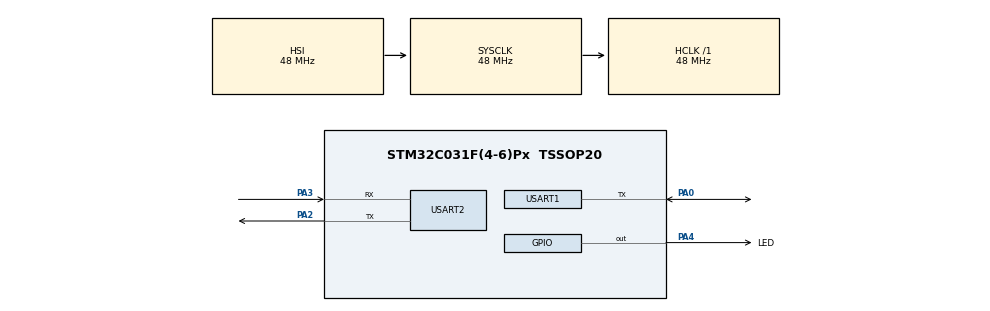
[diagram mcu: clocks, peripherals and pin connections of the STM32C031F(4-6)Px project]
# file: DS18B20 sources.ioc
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Dma.Request0=USART2_RX
Dma.Request1=USART2_TX
Dma.USART2_RX.0.Direction=DMA_PERIPH_TO_MEMORY
Dma.USART2_RX.0.EventEnable=DISABLE
Dma.USART2_RX.0.Instance=DMA1_Channel1
Dma.USART2_RX.0.MemDataAlignment=DMA_MDATAALIGN_BYTE
Dma.USART2_RX.0.MemInc=DMA_MINC_ENABLE
Dma.USART2_RX.0.Mode=DMA_NORMAL
Dma.USART2_RX.0.PeriphDataAlignment=DMA_PDATAALIGN_BYTE
Dma.USART2_RX.0.PeriphInc=DMA_PINC_DISABLE
Dma.USART2_RX.0.Polarity=HAL_DMAMUX_REQ_GEN_RISING
Dma.USART2_RX.0.Priority=DMA_PRIORITY_LOW
Dma.USART2_RX.0.RequestNumber=1
Dma.USART2_RX.0.SignalID=NONE
Dma.USART2_RX.0.SyncEnable=DISABLE
Dma.USART2_RX.0.SyncPolarity=HAL_DMAMUX_SYNC_NO_EVENT
Dma.USART2_RX.0.SyncRequestNumber=1
Dma.USART2_RX.0.SyncSignalID=NONE
Dma.USART2_TX.1.Direction=DMA_MEMORY_TO_PERIPH
Dma.USART2_TX.1.EventEnable=DISABLE
Dma.USART2_TX.1.Instance=DMA1_Channel2
Dma.USART2_TX.1.MemDataAlignment=DMA_MDATAALIGN_BYTE
Dma.USART2_TX.1.MemInc=DMA_MINC_ENABLE
Dma.USART2_TX.1.Mode=DMA_NORMAL
Dma.USART2_TX.1.PeriphDataAlignment=DMA_PDATAALIGN_BYTE
Dma.USART2_TX.1.PeriphInc=DMA_PINC_DISABLE
Dma.USART2_TX.1.Polarity=HAL_DMAMUX_REQ_GEN_RISING
Dma.USART2_TX.1.Priority=DMA_PRIORITY_LOW
Dma.USART2_TX.1.RequestNumber=1
Dma.USART2_TX.1.SignalID=NONE
Dma.USART2_TX.1.SyncEnable=DISABLE
Dma.USART2_TX.1.SyncPolarity=HAL_DMAMUX_SYNC_NO_EVENT
Dma.USART2_TX.1.SyncRequestNumber=1
Dma.USART2_TX.1.SyncSignalID=NONE
Mcu.Family=STM32C0
Mcu.Name=STM32C031F(4-6)Px
Mcu.Package=TSSOP20
NVIC.DMA1_Channel1_IRQn=true\:0\:0\:false\:false\:true\:false\:true\:true
NVIC.DMA1_Channel2_3_IRQn=true\:0\:0\:false\:false\:true\:false\:true\:true
NVIC.USART2_IRQn=true\:0\:0\:false\:false\:true\:true\:true\:true
PA0.Mode=Half_duplex(single_wire_mode)
PA0.Signal=USART1_TX
PA13.Mode=Serial_Wire
PA13.Signal=DEBUG_SWDIO
PA14-BOOT0.Mode=Serial_Wire
PA14-BOOT0.Signal=DEBUG_SWCLK
PA2.Mode=Asynchronous
PA2.Signal=USART2_TX
PA3.Mode=Asynchronous
PA3.Signal=USART2_RX
PA4.GPIO_Label=LED
PA4.Signal=GPIO_Output
ProjectManager.HeapSize=0x200
ProjectManager.StackSize=0x400
ProjectManager.TargetToolchain=Makefile
RCC.ADCFreq_Value=48000000
RCC.AHBFreq_Value=48000000
RCC.CortexFreq_Value=48000000
RCC.EXTERNAL_CLOCK_VALUE=12288000
RCC.HCLKFreq_Value=48000000
RCC.HSE_VALUE=8000000
RCC.HSISYSCLKDivider=RCC_HSI_DIV1
RCC.HSI_VALUE=48000000
RCC.LSE_VALUE=32768
RCC.SYSCLKFreq_VALUE=48000000
USART1.VirtualMode-Half_duplex(single_wire_mode)=VM_ASYNC
USART2.VirtualMode-Asynchronous=VM_ASYNC
board=custom

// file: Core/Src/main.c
/* USER CODE BEGIN Header */
/**
  ******************************************************************************
  * @file           : main.c
  * @brief          : Main program body
  ******************************************************************************
  * @attention
  *
  * Copyright (c) 2024 STMicroelectronics.
  * All rights reserved.
  *
  * This software is licensed under terms that can be found in the LICENSE file
  * in the root directory of this software component.
  * If no LICENSE file comes with this software, it is provided AS-IS.
  *
  ******************************************************************************
  */
/* USER CODE END Header */
#include "main.h"

/* USER CODE BEGIN Includes */
#include "ds18b20.h"
/* USER CODE END Includes */

/* USER CODE BEGIN PTD */
float DS18_GET();
void DS18_INIT();
/* USER CODE END PTD */

UART_HandleTypeDef huart1;
UART_HandleTypeDef huart2;
DMA_HandleTypeDef hdma_usart2_rx;
DMA_HandleTypeDef hdma_usart2_tx;

/* USER CODE BEGIN PV */
DS18B20 temperatureSensor;

float temp;
/* USER CODE END PV */

void SystemClock_Config(void);
static void MX_GPIO_Init(void);
static void MX_DMA_Init(void);
static void MX_USART1_UART_Init(void);
static void MX_USART2_UART_Init(void);

/* USER CODE BEGIN 0 */
uint8_t rx_buff[10];
/* USER CODE END 0 */

int main(void)
{

  /* MCU Configuration--------------------------------------------------------*/

  /* Reset of all peripherals, Initializes the Flash interface and the Systick. */
  HAL_Init();

  /* Configure the system clock */
  SystemClock_Config();

  /* Initialize all configured peripherals */
  MX_GPIO_Init();
  MX_DMA_Init();
  MX_USART1_UART_Init();
  MX_USART2_UART_Init();
  /* USER CODE BEGIN 2 */
  HAL_UART_Receive_DMA(&huart2, rx_buff, 10);
  HAL_GPIO_WritePin(LED_GPIO_Port, LED_Pin, GPIO_PIN_SET);
  DS18_INIT();
  /* USER CODE END 2 */

  /* Infinite loop */
  /* USER CODE BEGIN WHILE */
  while (1)
  {
	temp = DS18_GET();
	HAL_Delay(100);
    /* USER CODE END WHILE */

  }
}

void SystemClock_Config(void)
{
  RCC_OscInitTypeDef RCC_OscInitStruct = {0};
  RCC_ClkInitTypeDef RCC_ClkInitStruct = {0};

  /** Initializes the RCC Oscillators according to the specified parameters
  * in the RCC_OscInitTypeDef structure.
  */
  RCC_OscInitStruct.OscillatorType = RCC_OSCILLATORTYPE_HSI;
  RCC_OscInitStruct.HSIState = RCC_HSI_ON;
  RCC_OscInitStruct.HSIDiv = RCC_HSI_DIV1;
  RCC_OscInitStruct.HSICalibrationValue = RCC_HSICALIBRATION_DEFAULT;
  if (HAL_RCC_OscConfig(&RCC_OscInitStruct) != HAL_OK)
  {
    Error_Handler();
  }

  /** Initializes the CPU, AHB and APB buses clocks
  */
  RCC_ClkInitStruct.ClockType = RCC_CLOCKTYPE_HCLK|RCC_CLOCKTYPE_SYSCLK
                              |RCC_CLOCKTYPE_PCLK1;
  RCC_ClkInitStruct.SYSCLKSource = RCC_SYSCLKSOURCE_HSI;
  RCC_ClkInitStruct.SYSCLKDivider = RCC_SYSCLK_DIV1;
  RCC_ClkInitStruct.AHBCLKDivider = RCC_HCLK_DIV1;
  RCC_ClkInitStruct.APB1CLKDivider = RCC_APB1_DIV1;

  if (HAL_RCC_ClockConfig(&RCC_ClkInitStruct, FLASH_LATENCY_1) != HAL_OK)
  {
    Error_Handler();
  }
}

static void MX_USART1_UART_Init(void)
{

  huart1.Instance = USART1;
  huart1.Init.BaudRate = 115200;
  huart1.Init.WordLength = UART_WORDLENGTH_8B;
  huart1.Init.StopBits = UART_STOPBITS_1;
  huart1.Init.Parity = UART_PARITY_NONE;
  huart1.Init.Mode = UART_MODE_TX_RX;
  huart1.Init.HwFlowCtl = UART_HWCONTROL_NONE;
  huart1.Init.OverSampling = UART_OVERSAMPLING_16;
  huart1.Init.OneBitSampling = UART_ONE_BIT_SAMPLE_DISABLE;
  huart1.Init.ClockPrescaler = UART_PRESCALER_DIV1;
  huart1.AdvancedInit.AdvFeatureInit = UART_ADVFEATURE_NO_INIT;
  if (HAL_HalfDuplex_Init(&huart1) != HAL_OK)
  {
    Error_Handler();
  }
  if (HAL_UARTEx_SetTxFifoThreshold(&huart1, UART_TXFIFO_THRESHOLD_1_8) != HAL_OK)
  {
    Error_Handler();
  }
  if (HAL_UARTEx_SetRxFifoThreshold(&huart1, UART_RXFIFO_THRESHOLD_1_8) != HAL_OK)
  {
    Error_Handler();
  }
  if (HAL_UARTEx_DisableFifoMode(&huart1) != HAL_OK)
  {
    Error_Handler();
  }

}

static void MX_USART2_UART_Init(void)
{

  huart2.Instance = USART2;
  huart2.Init.BaudRate = 115200;
  huart2.Init.WordLength = UART_WORDLENGTH_8B;
  huart2.Init.StopBits = UART_STOPBITS_1;
  huart2.Init.Parity = UART_PARITY_NONE;
  huart2.Init.Mode = UART_MODE_TX_RX;
  huart2.Init.HwFlowCtl = UART_HWCONTROL_NONE;
  huart2.Init.OverSampling = UART_OVERSAMPLING_16;
  huart2.Init.OneBitSampling = UART_ONE_BIT_SAMPLE_DISABLE;
  huart2.Init.ClockPrescaler = UART_PRESCALER_DIV1;
  huart2.AdvancedInit.AdvFeatureInit = UART_ADVFEATURE_NO_INIT;
  if (HAL_UART_Init(&huart2) != HAL_OK)
  {
    Error_Handler();
  }

}

static void MX_DMA_Init(void)
{

  /* DMA controller clock enable */
  __HAL_RCC_DMA1_CLK_ENABLE();

  /* DMA interrupt init */
  /* DMA1_Channel1_IRQn interrupt configuration */
  HAL_NVIC_SetPriority(DMA1_Channel1_IRQn, 0, 0);
  HAL_NVIC_EnableIRQ(DMA1_Channel1_IRQn);
  /* DMA1_Channel2_3_IRQn interrupt configuration */
  HAL_NVIC_SetPriority(DMA1_Channel2_3_IRQn, 0, 0);
  HAL_NVIC_EnableIRQ(DMA1_Channel2_3_IRQn);

}

static void MX_GPIO_Init(void)
{
  GPIO_InitTypeDef GPIO_InitStruct = {0};

  /* GPIO Ports Clock Enable */
  __HAL_RCC_GPIOA_CLK_ENABLE();

  /*Configure GPIO pin Output Level */
  HAL_GPIO_WritePin(LED_GPIO_Port, LED_Pin, GPIO_PIN_RESET);

  /*Configure GPIO pin : LED_Pin */
  GPIO_InitStruct.Pin = LED_Pin;
  GPIO_InitStruct.Mode = GPIO_MODE_OUTPUT_PP;
  GPIO_InitStruct.Pull = GPIO_NOPULL;
  GPIO_InitStruct.Speed = GPIO_SPEED_FREQ_LOW;
  HAL_GPIO_Init(LED_GPIO_Port, &GPIO_InitStruct);

}

/* USER CODE BEGIN 4 */
void DS18_INIT(){
  DS18B20_Init(&temperatureSensor, &huart1);
  DS18B20_InitializationCommand(&temperatureSensor);
  DS18B20_ReadRom(&temperatureSensor);
  DS18B20_ReadScratchpad(&temperatureSensor);
  uint8_t settings[3];
  settings[0] = temperatureSensor.temperatureLimitHigh;
  settings[1] = temperatureSensor.temperatureLimitLow;
  settings[2] = DS18B20_12_BITS_CONFIG;
  DS18B20_InitializationCommand(&temperatureSensor);
  DS18B20_SkipRom(&temperatureSensor);
  DS18B20_WriteScratchpad(&temperatureSensor, settings);
}

float DS18_GET(){
	DS18B20_InitializationCommand(&temperatureSensor);
	DS18B20_SkipRom(&temperatureSensor);
	DS18B20_ConvertT(&temperatureSensor, DS18B20_DATA);
	DS18B20_InitializationCommand(&temperatureSensor);
	DS18B20_SkipRom(&temperatureSensor);
	DS18B20_ReadScratchpad(&temperatureSensor);
	return temperatureSensor.temperature;
}

void HAL_UART_RxCpltCallback(UART_HandleTypeDef *huart){
	HAL_GPIO_TogglePin(LED_GPIO_Port, LED_Pin);
	HAL_UART_Receive_DMA(&huart2, rx_buff, 10);
	if (rx_buff[0] == 84){
    // TT-30X50Y*
		uint8_t tx_buff[10] = {84, 84, 45, 51, 48, 88, 53, 48, 89, 176};
		HAL_UART_Transmit_DMA(&huart2, &tx_buff, 10);
	}else if (rx_buff[0] == 71){
		uint8_t tx_buff[10] = {35, 35, 35, 35, 35, 35, 35, 35, 35, 35};
    int16_t val = roundf(temp * 10);
		itoa(val, tx_buff, 10);
		HAL_UART_Transmit_DMA(&huart2, &tx_buff, 10);
	}
}
/* USER CODE END 4 */

void Error_Handler(void)
{
  __disable_irq();
  while (1)
  {
  }
}
